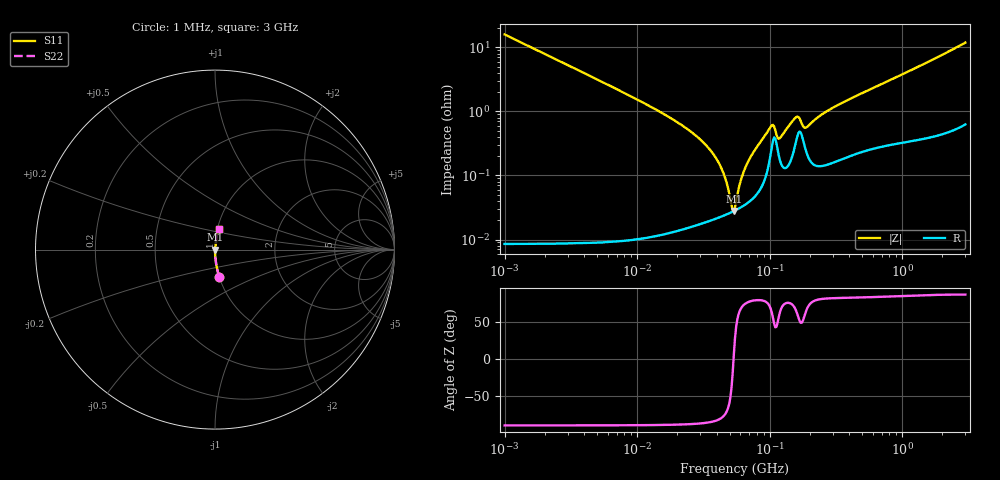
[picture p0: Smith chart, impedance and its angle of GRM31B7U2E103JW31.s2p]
!Murata Part Number: GRM31B7U2E103JW31
!These Parameters are Measured in Series Mode Connection
!Data Generated on Mar 30, 2021
!  o--ll--o
!Port1  Port2
!  o------o
!Operation Temp=25[degC], DC Bias Voltage=0[V]
!Freq. Start=1000[kHz] Stop=3[GHz] 401[Steps]
# Hz S RI R 50
!Freq.(Hz) S11(Real) S11(Imag) S21(Real) S21(Imag) S12(Real) S12(Imag) S22(Real) S22(Imag)
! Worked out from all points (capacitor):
!   401 points, 1 MHz to 3 GHz, reference 50 ohm
!   read as one part in series: C = 10 nF near 1.041 MHz
!   lowest |Z| = 27.9 mohm at 53.69 MHz (marker M1)
!   series resonance near 53.43 MHz, so ESL is about 890 pH
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1000000  0.0247 -0.1549  0.9753 0.1549  0.9753 0.1549  0.0247 -0.1549
3823119  0.00179 -0.0413  0.9982 0.0413  0.9982 0.0413  0.00179 -0.0413
1.461624e7  0.000216 -0.01  0.9998 0.01  0.9998 0.01  0.000216 -0.01
2.559966e7  0.00018 -0.00478  0.9998 0.00478  0.9998 0.00478  0.00018 -0.00478
3.597591e7  0.000204 -0.00242  0.9998 0.00242  0.9998 0.00242  0.000204 -0.00242
4.394807e7  0.000233 -0.00118  0.9998 0.00118  0.9998 0.00118  0.000233 -0.00118
4.761141e7  0.000248 -0.000696  0.9998 0.000696  0.9998 0.000696  0.000248 -0.000696
5.15801e7  0.000267 -0.000213  0.9997 0.000213  0.9997 0.000213  0.000267 -0.000213
5.368684e7  0.000278 2.96e-05  0.9997 -2.96e-05  0.9997 -2.96e-05  0.000278 2.96e-05
5.477226e7  0.000283 0.000151  0.9997 -0.000151  0.9997 -0.000151  0.000283 0.000151
6.053752e7  0.000317 0.00077  0.9997 -0.00077  0.9997 -0.00077  0.000317 0.00077
6.690964e7  0.000364 0.00142  0.9996 -0.00142  0.9996 -0.00142  0.000364 0.00142
1.018679e8  0.00221 0.00531  0.9978 -0.00531  0.9978 -0.00531  0.00221 0.00531
1.060286e8  0.00352 0.00502  0.9965 -0.00502  0.9965 -0.00502  0.00352 0.00502
1.148668e8  0.00253 0.00292  0.9975 -0.00292  0.9975 -0.00292  0.00253 0.00292
1.195584e8  0.00174 0.00339  0.9983 -0.00339  0.9983 -0.00339  0.00174 0.00339
1.582265e8  0.00343 0.00731  0.9966 -0.00731  0.9966 -0.00731  0.00343 0.00731
1.857042e8  0.00266 0.00485  0.9973 -0.00485  0.9973 -0.00485  0.00266 0.00485
2.094008e8  0.00159 0.00662  0.9984 -0.00662  0.9984 -0.00662  0.00159 0.00662
3.124888e8  0.00177 0.0118  0.9982 -0.0118  0.9982 -0.0118  0.00177 0.0118
8.005644e8  0.00387 0.0301  0.9961 -0.0301  0.9961 -0.0301  0.00387 0.0301
3e9  0.0198 0.1154  0.9802 -0.1154  0.9802 -0.1154  0.0198 0.1154
